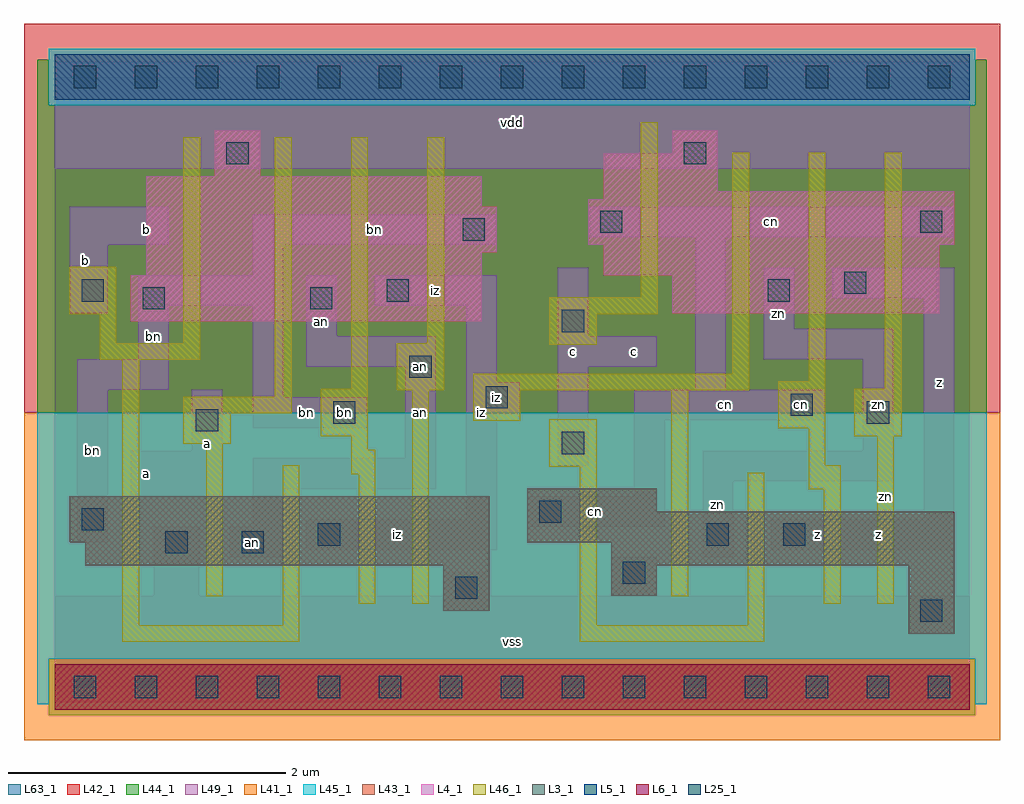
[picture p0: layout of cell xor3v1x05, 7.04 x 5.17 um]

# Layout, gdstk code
import gdstk
lib = gdstk.Library(unit=1e-6, precision=1e-09)
def R(c, l, rs):  # rectangles x0, y0, x1, y1
    for r in rs: c.add(gdstk.rectangle(r[:2], r[2:], *l))
def A(c, l, x, y, w, h, nx, ny, dx, dy):  # array of equal rectangles
    R(c, l, [(x+i*dx, y+j*dy, x+i*dx+w, y+j*dy+h) for i in range(nx) for j in range(ny)])
L3_1 = (3, 1)
L4_1 = (4, 1)
L5_1 = (5, 1)
L6_1 = (6, 1)
L25_1 = (25, 1)
L41_1 = (41, 1)
L42_1 = (42, 1)
L43_1 = (43, 1)
L44_1 = (44, 1)
L45_1 = (45, 1)
L46_1 = (46, 1)
L49_1 = (49, 1)
L63_1 = (63, 1)

xor3v1x05 = lib.new_cell('xor3v1x05')
R(xor3v1x05, L3_1, [(6.16,0.385,6.49,0.88), (2.805,0.55,3.135,0.88), (4.015,0.66,4.345,0.88), (0.22,0.88,3.135,1.045), (4.015,0.88,6.49,1.045), (0.11,1.045,3.135,1.375), (3.41,1.045,6.49,1.265), (3.41,1.265,4.345,1.43)])
R(xor3v1x05, L4_1, [(0.55,2.64,3.08,2.97), (4.455,2.695,6.38,2.97), (0.66,2.97,3.08,3.135), (3.96,2.97,6.38,3.19), (0.66,3.135,3.19,3.465), (3.85,3.19,6.49,3.52), (0.66,3.465,3.08,3.685), (3.96,3.52,6.49,3.575), (3.96,3.575,4.785,3.85), (1.155,3.685,1.485,4.015), (4.455,3.85,4.785,4.015)])
R(xor3v1x05, L5_1, [(0,4.235,6.6,4.565)])
R(xor3v1x05, L6_1, [(0,-0.165,6.6,0.165)])
A(xor3v1x05, L25_1, 0.14, -0.08, 0.16, 0.16, 15, 2, 0.44, 4.4)
R(xor3v1x05, L25_1, [(6.245,0.47,6.405,0.63), (2.89,0.635,3.05,0.795), (4.1,0.745,4.26,0.905), (0.8,0.965,0.96,1.125), (1.35,0.965,1.51,1.125), (1.9,1.02,2.06,1.18), (4.705,1.02,4.865,1.18), (5.255,1.02,5.415,1.18), (0.195,1.13,0.355,1.29), (3.495,1.185,3.655,1.345), (3.66,1.68,3.82,1.84), (1.02,1.845,1.18,2.005), (2.01,1.9,2.17,2.06), (5.86,1.9,6.02,2.06), (5.31,1.955,5.47,2.115), (3.11,2.01,3.27,2.17), (2.56,2.23,2.72,2.39), (3.66,2.56,3.82,2.72), (0.635,2.725,0.795,2.885), (1.845,2.725,2.005,2.885), (0.195,2.78,0.355,2.94), (2.395,2.78,2.555,2.94), (5.145,2.78,5.305,2.94), (5.695,2.835,5.855,2.995), (2.945,3.22,3.105,3.38), (3.935,3.275,4.095,3.435), (6.245,3.275,6.405,3.435), (1.24,3.77,1.4,3.93), (4.54,3.77,4.7,3.93)])
R(xor3v1x05, L41_1, [(-0.22,-0.385,6.82,1.98)])
R(xor3v1x05, L42_1, [(-0.22,1.98,6.82,4.785)])
R(xor3v1x05, L43_1, [(0,-0.165,6.6,0.165), (6.16,0.385,6.49,0.88), (2.805,0.55,3.135,0.88), (4.015,0.66,4.345,0.88), (0.22,0.88,3.135,1.045), (4.015,0.88,6.49,1.045), (0.11,1.045,3.135,1.375), (3.41,1.045,6.49,1.265), (3.41,1.265,4.345,1.43), (0.55,2.64,3.08,2.97), (4.455,2.695,6.38,2.97), (0.66,2.97,3.08,3.135), (3.96,2.97,6.38,3.19), (0.66,3.135,3.19,3.465), (3.85,3.19,6.49,3.52), (0.66,3.465,3.08,3.685), (3.96,3.52,6.49,3.575), (3.96,3.575,4.785,3.85), (1.155,3.685,1.485,4.015), (4.455,3.85,4.785,4.015), (0,4.235,6.6,4.565)])
R(xor3v1x05, L44_1, [(-0.04,-0.205,6.64,0.205), (-0.125,1.98,6.725,4.195), (-0.125,4.195,-0.04,4.525), (6.64,4.195,6.725,4.525)])
R(xor3v1x05, L45_1, [(-0.125,-0.125,-0.04,0.205), (6.64,-0.125,6.725,0.205), (-0.125,0.205,6.725,1.98), (-0.04,4.195,6.64,4.605)])
R(xor3v1x05, L46_1, [(0.49,0.325,1.765,0.445), (3.79,0.325,5.12,0.445), (0.49,0.445,0.61,2.36), (1.645,0.445,1.765,1.6), (3.79,0.445,3.91,1.59), (5,0.445,5.12,1.545), (2.195,0.6,2.315,1.535), (2.58,0.6,2.7,2.14), (5.55,0.6,5.67,1.425), (5.935,0.6,6.055,1.81), (1.095,0.655,1.215,1.755), (4.45,0.655,4.57,2.14), (5.44,1.425,5.67,1.6), (2.14,1.535,2.315,1.71), (3.57,1.59,3.91,1.93), (5.44,1.6,5.56,1.865), (2.14,1.71,2.26,1.81), (0.93,1.755,1.27,1.975), (1.92,1.81,2.26,2.15), (5.77,1.81,6.11,2.15), (5.22,1.865,5.56,2.205), (3.02,1.92,3.36,2.14), (0.93,1.975,1.71,2.095), (1.59,2.095,1.71,3.965), (2.47,2.14,2.81,2.48), (3.02,2.14,5.01,2.26), (2.14,2.15,2.26,3.965), (5.99,2.15,6.11,3.855), (5.44,2.205,5.56,3.855), (4.89,2.26,5.01,3.855), (0.325,2.36,1.05,2.48), (3.57,2.47,3.91,2.69), (0.325,2.48,0.445,2.69), (0.93,2.48,1.05,3.965), (2.69,2.48,2.81,3.965), (0.105,2.69,0.445,3.03), (3.57,2.69,4.35,2.81), (4.23,2.81,4.35,4.075)])
R(xor3v1x05, L49_1, [(0,-0.11,6.6,0.66), (0.715,0.66,1.045,1.155), (2.805,0.66,3.135,0.825), (4.015,0.66,4.345,0.935), (1.265,0.935,1.65,1.155), (4.675,0.935,4.895,1.485), (1.815,0.99,3.19,1.21), (5.17,0.99,6.49,1.21), (0.165,1.045,0.385,2.145), (1.43,1.155,1.65,1.43), (3.41,1.155,4.4,1.375), (2.97,1.21,3.19,1.98), (6.27,1.21,6.49,2.805), (0.55,1.375,1.21,1.705), (4.18,1.375,4.4,1.925), (1.43,1.43,2.75,1.65), (4.675,1.485,6.05,1.705), (3.63,1.595,3.85,2.31), (2.53,1.65,2.75,2.31), (0.99,1.705,1.21,2.145), (5.83,1.705,6.05,2.365), (1.43,1.87,2.255,2.09), (4.18,1.925,5.555,2.145), (2.97,1.98,3.355,2.2), (1.43,2.09,1.65,2.75), (0.165,2.145,0.825,2.365), (4.62,2.145,4.84,3.245), (2.97,2.2,3.19,2.75), (1.815,2.31,2.75,2.53), (3.63,2.31,4.345,2.53), (0.605,2.365,0.825,2.75), (5.115,2.365,6.05,2.585), (1.815,2.53,2.035,2.97), (3.63,2.53,3.85,3.025), (5.115,2.585,5.335,3.025), (0.11,2.695,0.385,3.19), (0.605,2.75,1.65,2.97), (2.31,2.75,3.19,2.97), (5.61,2.805,6.49,3.025), (1.43,2.97,1.65,3.19), (0.11,3.19,0.825,3.465), (1.43,3.19,3.19,3.41), (3.85,3.245,6.49,3.465), (0,3.74,6.6,4.51)])
R(xor3v1x05, L63_1, [(0,0,6.6,4.4)])
xor3v1x05.add(gdstk.Label('bn', (2.09,1.98), layer=49, texttype=1))
xor3v1x05.add(gdstk.Label('an', (2.64,2.31), layer=49, texttype=1))
xor3v1x05.add(gdstk.Label('iz', (3.19,2.09), layer=49, texttype=1))
xor3v1x05.add(gdstk.Label('zn', (5.995,1.375), layer=46, texttype=1))
xor3v1x05.add(gdstk.Label('cn', (5.39,2.035), layer=49, texttype=1))
xor3v1x05.add(gdstk.Label('a', (0.66,1.54), layer=49, texttype=1))
xor3v1x05.add(gdstk.Label('bn', (0.275,1.705), layer=49, texttype=1))
xor3v1x05.add(gdstk.Label('bn', (0.715,2.53), layer=49, texttype=1))
xor3v1x05.add(gdstk.Label('b', (0.22,3.08), layer=49, texttype=1))
xor3v1x05.add(gdstk.Label('b', (0.66,3.3), layer=49, texttype=1))
xor3v1x05.add(gdstk.Label('an', (1.43,1.045), layer=49, texttype=1))
xor3v1x05.add(gdstk.Label('a', (1.1,1.76), layer=49, texttype=1))
xor3v1x05.add(gdstk.Label('bn', (1.815,1.98), layer=49, texttype=1))
xor3v1x05.add(gdstk.Label('an', (1.925,2.64), layer=49, texttype=1))
xor3v1x05.add(gdstk.Label('vss', (3.3,0.33), layer=49, texttype=1))
xor3v1x05.add(gdstk.Label('iz', (2.475,1.1), layer=49, texttype=1))
xor3v1x05.add(gdstk.Label('an', (2.64,1.98), layer=49, texttype=1))
xor3v1x05.add(gdstk.Label('c', (3.74,2.42), layer=49, texttype=1))
xor3v1x05.add(gdstk.Label('iz', (2.75,2.86), layer=49, texttype=1))
xor3v1x05.add(gdstk.Label('iz', (3.08,1.98), layer=49, texttype=1))
xor3v1x05.add(gdstk.Label('bn', (2.31,3.3), layer=49, texttype=1))
xor3v1x05.add(gdstk.Label('vdd', (3.3,4.07), layer=49, texttype=1))
xor3v1x05.add(gdstk.Label('cn', (3.905,1.265), layer=49, texttype=1))
xor3v1x05.add(gdstk.Label('zn', (4.785,1.32), layer=49, texttype=1))
xor3v1x05.add(gdstk.Label('c', (4.18,2.42), layer=49, texttype=1))
xor3v1x05.add(gdstk.Label('z', (5.5,1.1), layer=49, texttype=1))
xor3v1x05.add(gdstk.Label('z', (5.94,1.1), layer=49, texttype=1))
xor3v1x05.add(gdstk.Label('zn', (5.94,2.035), layer=49, texttype=1))
xor3v1x05.add(gdstk.Label('cn', (4.84,2.035), layer=49, texttype=1))
xor3v1x05.add(gdstk.Label('z', (6.38,2.2), layer=49, texttype=1))
xor3v1x05.add(gdstk.Label('zn', (5.225,2.695), layer=49, texttype=1))
xor3v1x05.add(gdstk.Label('cn', (5.17,3.355), layer=49, texttype=1))

lib.write_gds('xor3v1x05.gds')
